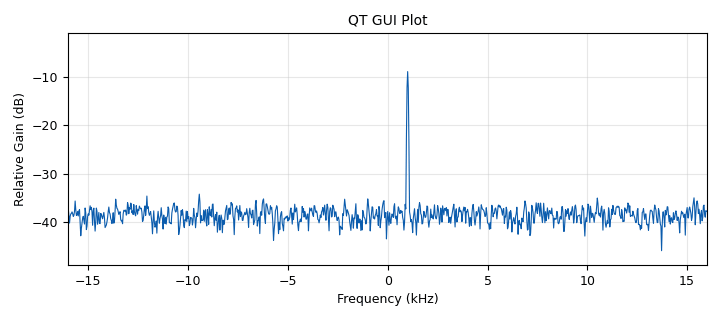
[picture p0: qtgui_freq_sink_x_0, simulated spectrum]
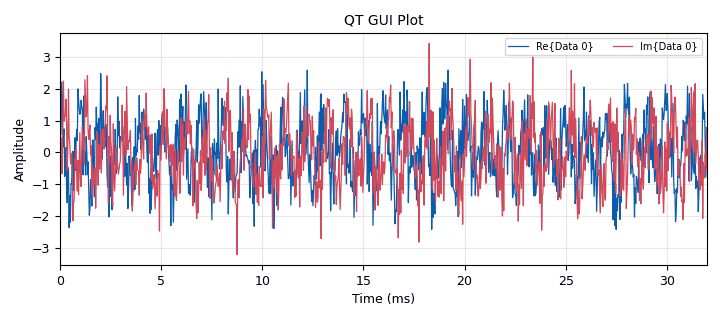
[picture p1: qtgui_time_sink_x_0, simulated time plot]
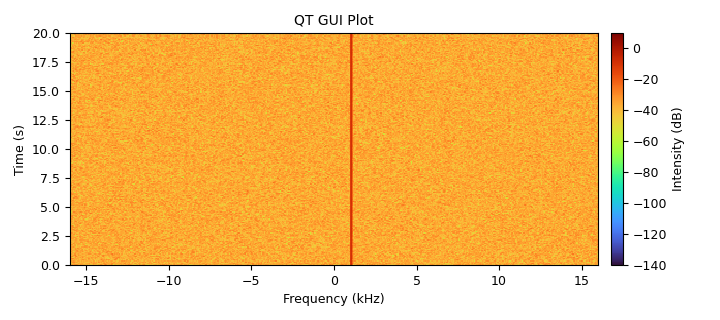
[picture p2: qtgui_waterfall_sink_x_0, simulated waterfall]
options:
  parameters:
    generate_options: qt_gui
    id: Handson9
    output_language: python
  states: {}

blocks:
- name: noise_amp
  id: variable_qtgui_range
  parameters:
    label: Noise Amplitude
    start: '0'
    step: '0.01'
    stop: '1'
    value: '1'
  states: {}
- name: samp_rate
  id: variable
  parameters:
    value: '32000'
  states: {}
- name: analog_noise_source_x_0
  id: analog_noise_source_x
  parameters:
    amp: noise_amp
    noise_type: analog.GR_GAUSSIAN
    seed: '0'
    type: complex
  states: {}
- name: analog_sig_source_x_0
  id: analog_sig_source_x
  parameters:
    amp: '1'
    freq: '1000'
    offset: '0'
    phase: '0'
    samp_rate: samp_rate
    type: complex
    waveform: analog.GR_COS_WAVE
  states: {}
- name: blocks_add_xx_0
  id: blocks_add_xx
  parameters:
    type: complex
  states: {}
- name: blocks_throttle_0
  id: blocks_throttle
  parameters:
    samples_per_second: samp_rate
    type: complex
  states: {}
- name: qtgui_freq_sink_x_0
  id: qtgui_freq_sink_x
  parameters:
    autoscale: 'True'
    average: '0.1'
    bw: samp_rate
    fc: '0'
    fftsize: '1024'
    gui_hint: 0,0,1,1
    name: QT GUI Plot
    type: complex
    ymin: '-210'
  states: {}
- name: qtgui_time_sink_x_0
  id: qtgui_time_sink_x
  parameters:
    autoscale: 'True'
    gui_hint: 0,1,1,1
    name: QT GUI Plot
    size: '1024'
    srate: samp_rate
    type: complex
    ymax: '5'
    ymin: '-5'
  states: {}
- name: qtgui_waterfall_sink_x_0
  id: qtgui_waterfall_sink_x
  parameters:
    bw: samp_rate
    fc: '0'
    fftsize: '1024'
    gui_hint: 1,0,1,2
    name: QT GUI Plot
    type: complex
  states: {}

connections:
- [analog_noise_source_x_0, '0', blocks_throttle_0, '0']
- [analog_sig_source_x_0, '0', blocks_add_xx_0, '1']
- [blocks_add_xx_0, '0', qtgui_freq_sink_x_0, '0']
- [blocks_add_xx_0, '0', qtgui_time_sink_x_0, '0']
- [blocks_add_xx_0, '0', qtgui_waterfall_sink_x_0, '0']
- [blocks_throttle_0, '0', blocks_add_xx_0, '0']

metadata:
  file_format: 1
